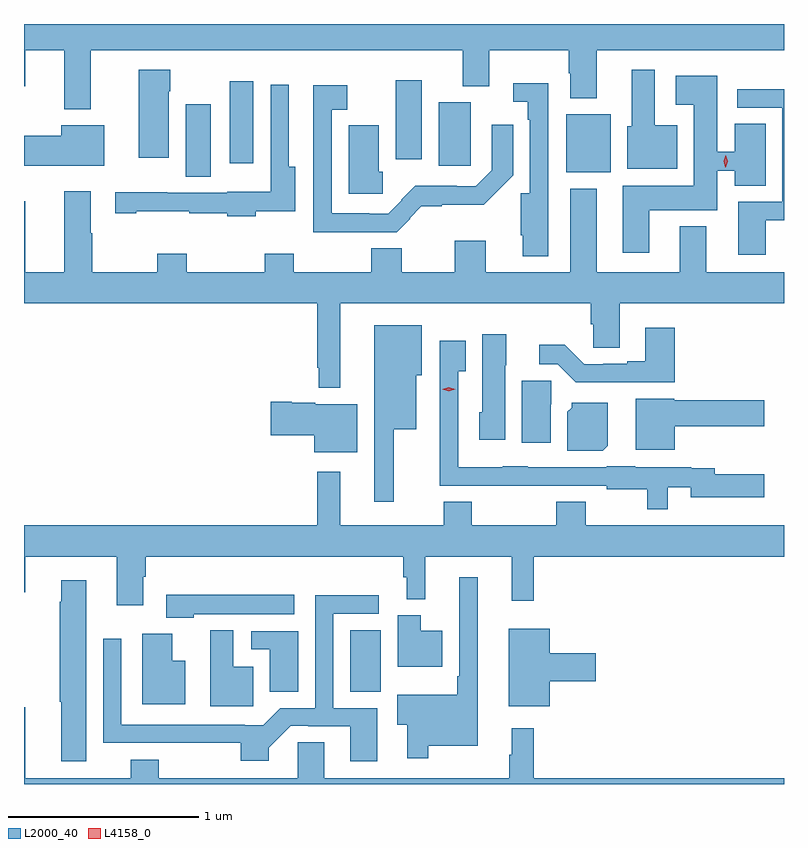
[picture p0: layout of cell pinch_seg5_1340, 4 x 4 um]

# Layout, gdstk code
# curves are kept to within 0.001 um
import gdstk
lib = gdstk.Library(unit=1e-6, precision=1e-09)
def R(c, l, rs):  # rectangles x0, y0, x1, y1
    for r in rs: c.add(gdstk.rectangle(r[:2], r[2:], *l))
def P(c, l, *ps):  # polygons
    for p in ps: c.add(gdstk.Polygon(p, *l))
L2000_40 = (2000, 40)
L4158_0 = (4158, 0)

pinch_seg5_1340 = lib.new_cell('pinch_seg5_1340')
R(pinch_seg5_1340, L2000_40, [(262.787,885.352,262.948,885.677), (261.92,888.064,262.054,888.445), (263.924,888.086,264.157,888.391), (263.252,888.12,263.422,888.454), (262.154,888.135,262.276,888.565), (263.027,888.156,263.164,888.571)])
P(pinch_seg5_1340, L2000_40, [(261.421,888.728),(263.378,888.728),(263.378,888.539),(263.518,888.539),(263.518,888.728),(263.938,888.728),(263.938,888.608),(263.945,888.608),(263.945,888.476),(264.085,888.476),(264.085,888.728),(265.07,888.728),(265.07,888.867),(261.07,888.867),(261.07,888.54),(261.076,888.54),(261.076,888.728),(261.281,888.728),(261.281,888.419),(261.421,888.419)],
  [(264.508,888.334),(264.391,888.334),(264.391,888.625),(264.269,888.625),(264.269,888.33),(264.245,888.33),(264.245,888.104),(264.508,888.104)],
  [(261.832,888.512),(261.84,888.512),(261.84,888.625),(261.674,888.625),(261.674,888.162),(261.832,888.162)],
  [(264.361,887.888),(264.718,887.888),(264.718,888.095),(264.812,888.095),(264.812,888.016),(264.973,888.016),(264.973,888.341),(264.812,888.341),(264.812,888.195),(264.718,888.195),(264.718,888.595),(264.501,888.595),(264.501,888.443),(264.596,888.443),(264.596,888.016),(264.221,888.016),(264.221,887.664),(264.361,887.664)],
  [(263.83,887.873),(263.829,887.873),(263.829,888.556),(263.646,888.556),(263.646,888.459),(263.721,888.459),(263.721,888.362),(263.733,888.362),(263.733,887.976),(263.684,887.976),(263.684,887.755),(263.696,887.755),(263.696,887.645),(263.83,887.645)],
  [(262.29,887.882),(262.498,887.882),(262.498,888.115),(262.464,888.115),(262.464,888.547),(262.368,888.547),(262.368,887.983),(262.14,887.983),(262.14,887.979),(261.824,887.979),(261.824,887.981),(261.549,887.981),(261.549,887.871),(261.661,887.871),(261.661,887.881),(261.94,887.881),(261.94,887.871),(262.14,887.871),(262.14,887.854),(262.29,887.854)],
  [(263.103,887.841),(263.099,887.845),(263.161,887.907),(263.269,887.907),(263.269,887.915),(263.489,887.915),(263.644,888.072),(263.644,888.337),(263.532,888.337),(263.532,888.096),(263.448,888.012),(263.348,888.012),(263.348,888.017),(263.129,888.017),(263.055,887.943),(263.058,887.94),(262.986,887.868),(262.886,887.868),(262.886,887.872),(262.689,887.872),(262.689,888.416),(262.772,888.416),(262.772,888.544),(262.593,888.544),(262.593,887.771),(263.033,887.771)],
  [(264.973,887.835),(265.07,887.835),(265.07,888.524),(264.825,888.524),(264.825,888.426),(265.062,888.426),(265.062,887.931),(264.83,887.931),(264.83,887.652),(264.973,887.652)],
  [(262.959,888.09),(262.936,888.09),(262.936,888.335),(262.778,888.335),(262.778,887.973),(262.959,887.973)],
  [(261.493,888.334),(261.266,888.334),(261.266,888.28),(261.07,888.28),(261.07,888.122),(261.493,888.122)],
  [(262.735,887.396),(264.053,887.396),(264.053,887.286),(264.066,887.286),(264.066,887.164),(264.205,887.164),(264.205,887.396),(265.07,887.396),(265.07,887.56),(264.661,887.56),(264.661,887.803),(264.521,887.803),(264.521,887.56),(264.085,887.56),(264.085,888.001),(263.945,888.001),(263.945,887.56),(263.5,887.56),(263.5,887.725),(263.336,887.725),(263.336,887.56),(263.059,887.56),(263.059,887.686),(262.898,887.686),(262.898,887.56),(262.491,887.56),(262.491,887.659),(262.336,887.659),(262.336,887.56),(261.927,887.56),(261.927,887.659),(261.772,887.659),(261.772,887.56),(261.429,887.56),(261.429,887.765),(261.421,887.765),(261.421,887.986),(261.281,887.986),(261.281,887.56),(261.076,887.56),(261.076,887.935),(261.07,887.935),(261.07,887.396),(262.614,887.396),(262.614,887.059),(262.621,887.059),(262.621,886.952),(262.735,886.952)],
  [(263.017,886.733),(263.134,886.733),(263.134,887.018),(263.164,887.018),(263.164,887.281),(262.913,887.281),(262.913,886.353),(263.017,886.353)],
  [(264.494,887.269),(264.341,887.269),(264.341,887.092),(264.245,887.092),(264.245,887.079),(264.118,887.079),(264.118,887.076),(264.018,887.076),(263.916,887.179),(263.781,887.179),(263.781,887.076),(263.88,887.076),(263.974,886.982),(264.494,886.982)],
  [(263.602,887.07),(263.608,887.07),(263.608,887.233),(263.483,887.233),(263.483,886.824),(263.465,886.824),(263.465,886.68),(263.602,886.68)],
  [(264.459,886.43),(264.578,886.43),(264.578,886.376),(264.967,886.376),(264.967,886.498),(264.706,886.498),(264.706,886.53),(264.582,886.53),(264.582,886.534),(264.288,886.534),(264.288,886.54),(264.138,886.54),(264.138,886.533),(263.721,886.533),(263.721,886.54),(263.589,886.54),(263.589,886.534),(263.355,886.534),(263.355,887.039),(263.395,887.039),(263.395,887.2),(263.259,887.2),(263.259,886.437),(263.489,886.437),(263.489,886.436),(263.721,886.436),(263.721,886.437),(264.138,886.437),(264.138,886.418),(264.351,886.418),(264.351,886.313),(264.459,886.313)],
  [(263.842,886.866),(263.846,886.866),(263.846,886.989),(263.69,886.989),(263.69,886.662),(263.842,886.662)],
  [(264.496,886.751),(264.967,886.751),(264.967,886.886),(264.492,886.886),(264.492,886.894),(264.29,886.894),(264.29,886.625),(264.496,886.625)],
  [(262.825,886.867),(262.602,886.867),(262.602,886.873),(262.48,886.873),(262.48,886.88),(262.368,886.88),(262.368,886.702),(262.598,886.702),(262.598,886.613),(262.825,886.613)],
  [(264.142,886.648),(264.142,886.873),(263.952,886.873),(263.952,886.848),(263.93,886.826),(263.93,886.622),(264.116,886.622)],
  [(261.697,885.958),(261.71,885.958),(261.71,886.064),(263.065,886.064),(263.065,885.955),(263.084,885.955),(263.084,885.839),(263.183,885.839),(263.183,886.064),(263.636,886.064),(263.636,885.831),(263.753,885.831),(263.753,886.064),(265.07,886.064),(265.07,886.228),(264.027,886.228),(264.027,886.352),(263.872,886.352),(263.872,886.228),(263.427,886.228),(263.427,886.352),(263.279,886.352),(263.279,886.228),(262.735,886.228),(262.735,886.51),(262.614,886.51),(262.614,886.228),(261.07,886.228),(261.07,885.876),(261.076,885.876),(261.076,886.064),(261.557,886.064),(261.557,885.807),(261.697,885.807)],
  [(263.197,885.068),(263.458,885.068),(263.458,885.955),(263.361,885.955),(263.361,885.433),(263.349,885.433),(263.349,885.337),(263.034,885.337),(263.034,885.179),(263.087,885.179),(263.087,885.003),(263.197,885.003)],
  [(261.397,885.94),(261.266,885.94),(261.266,885.827),(261.259,885.827),(261.259,885.3),(261.266,885.3),(261.266,884.988),(261.397,884.988)],
  [(261.963,885.761),(262.492,885.761),(262.492,885.862),(261.819,885.862),(261.819,885.743),(261.963,885.743)],
  [(262.93,885.267),(262.698,885.267),(262.698,885.762),(262.936,885.762),(262.936,885.86),(262.602,885.86),(262.602,885.267),(262.418,885.267),(262.328,885.177),(262.232,885.177),(262.232,885.18),(261.582,885.18),(261.582,885.631),(261.486,885.631),(261.486,885.084),(262.21,885.083),(262.21,884.99),(262.357,884.99),(262.357,885.058),(262.473,885.174),(262.567,885.174),(262.567,885.171),(262.787,885.171),(262.787,884.988),(262.93,884.988)],
  [(263.272,885.673),(263.158,885.673),(263.158,885.754),(263.036,885.754),(263.036,885.485),(263.272,885.485)],
  [(263.836,885.407),(264.079,885.407),(264.079,885.554),(263.836,885.554),(263.836,885.685),(263.621,885.685),(263.621,885.275),(263.836,885.275)],
  [(262.276,885.484),(262.171,885.484),(262.171,885.676),(262.049,885.676),(262.049,885.275),(262.276,885.275)],
  [(262.513,885.672),(262.266,885.672),(262.266,885.576),(262.364,885.576),(262.364,885.352),(262.513,885.352)],
  [(261.919,885.517),(261.85,885.517),(261.85,885.658),(261.692,885.658),(261.692,885.287),(261.919,885.287)],
  [(265.07,884.896),(263.753,884.896),(263.753,885.16),(263.636,885.16),(263.636,885.02),(263.625,885.02),(263.625,884.896),(262.651,884.896),(262.651,885.086),(262.512,885.086),(262.512,884.896),(261.779,884.896),(261.779,884.995),(261.632,884.995),(261.632,884.896),(261.076,884.896),(261.076,885.271),(261.07,885.271),(261.07,884.867),(265.07,884.867)])
P(pinch_seg5_1340, L4158_0, [(264.762,888.113),(264.762,888.113),(264.753,888.144),(264.763,888.175),(264.763,888.176),(264.763,888.175),(264.773,888.144),(264.763,888.113)],
  [(263.306,886.934),(263.271,886.944),(263.271,886.944),(263.271,886.944),(263.306,886.954),(263.341,886.944),(263.341,886.944),(263.341,886.944)])

lib.write_gds('pinch_seg5_1340.gds')
